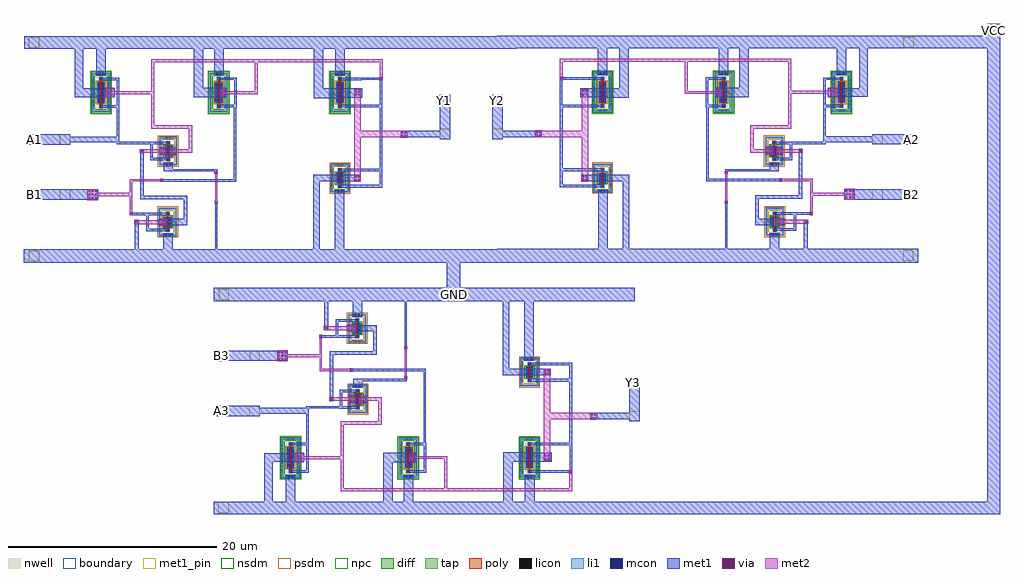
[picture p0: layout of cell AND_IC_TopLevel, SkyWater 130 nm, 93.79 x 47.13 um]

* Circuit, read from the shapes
.subckt AND_IC_TopLevel A1 A2 A3 B1 B2 B3 GND VCC Y1 Y2 Y3
XM1 n1 B1 GND GND sky130_fd_pr__nfet_01v8 w=1 l=0.15
XM2 n2 A1 n1 GND sky130_fd_pr__nfet_01v8 w=1 l=0.15
XM3 Y1 n2 GND GND sky130_fd_pr__nfet_01v8 w=1 l=0.15
XM4 n3 B3 GND GND sky130_fd_pr__nfet_01v8 w=1 l=0.15
XM5 n4 A3 n3 GND sky130_fd_pr__nfet_01v8 w=1 l=0.15
XM6 Y3 n4 GND GND sky130_fd_pr__nfet_01v8 w=1 l=0.15
XM7 GND n5 Y2 GND sky130_fd_pr__nfet_01v8 w=1 l=0.15
XM8 n6 A2 n5 GND sky130_fd_pr__nfet_01v8 w=1 l=0.15
XM9 GND B2 n6 GND sky130_fd_pr__nfet_01v8 w=1 l=0.15
XM10 n2 A1 VCC VCC sky130_fd_pr__pfet_01v8 w=2 l=0.15
XM11 n2 B1 VCC VCC sky130_fd_pr__pfet_01v8 w=2 l=0.15
XM12 n4 A3 VCC VCC sky130_fd_pr__pfet_01v8 w=2 l=0.15
XM13 Y1 n2 VCC VCC sky130_fd_pr__pfet_01v8 w=2 l=0.15
XM14 n4 B3 VCC VCC sky130_fd_pr__pfet_01v8 w=2 l=0.15
XM15 Y3 n4 VCC VCC sky130_fd_pr__pfet_01v8 w=2 l=0.15
XM16 VCC n5 Y2 VCC sky130_fd_pr__pfet_01v8 w=2 l=0.15
XM17 VCC B2 n5 VCC sky130_fd_pr__pfet_01v8 w=2 l=0.15
XM18 VCC A2 n5 VCC sky130_fd_pr__pfet_01v8 w=2 l=0.15
.ends

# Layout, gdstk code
from math import pi, radians
import gdstk
lib = gdstk.Library(unit=1e-6, precision=1e-09)
def R(c, l, rs):  # rectangles x0, y0, x1, y1
    for r in rs: c.add(gdstk.rectangle(r[:2], r[2:], *l))
def A(c, l, x, y, w, h, nx, ny, dx, dy):  # array of equal rectangles
    R(c, l, [(x+i*dx, y+j*dy, x+i*dx+w, y+j*dy+h) for i in range(nx) for j in range(ny)])
nwell = (64, 20)
diff = (65, 20)
tap = (65, 44)
poly = (66, 20)
licon = (66, 44)
li1 = (67, 20)
mcon = (67, 44)
met1_pin = (68, 16)
met1 = (68, 20)
via = (68, 44)
met2 = (69, 20)
nsdm = (93, 44)
psdm = (94, 20)
npc = (95, 20)
boundary = (235, 4)

sky130_fd_pr__nfet_01v8_ = lib.new_cell('sky130_fd_pr__nfet_01v8_648S5X')
R(sky130_fd_pr__nfet_01v8_, diff, [(-0.365,-0.5,0.365,0.5)])
R(sky130_fd_pr__nfet_01v8_, tap, [(-0.875,-1.37,0.875,-1.2), (-0.875,-1.2,-0.705,1.2), (0.705,-1.2,0.875,1.2), (-0.875,1.2,0.875,1.37)])
R(sky130_fd_pr__nfet_01v8_, poly, [(-0.165,-0.94,0.165,-0.61), (-0.075,-0.61,0.075,0.61), (-0.165,0.61,0.165,0.94)])
A(sky130_fd_pr__nfet_01v8_, licon, -0.875, -0.765, 0.17, 0.17, 1, 5, 0, 0.34)
A(sky130_fd_pr__nfet_01v8_, licon, 0.705, -0.765, 0.17, 0.17, 1, 5, 0, 0.34)
A(sky130_fd_pr__nfet_01v8_, licon, -0.305, -0.425, 0.17, 0.17, 1, 3, 0, 0.34)
A(sky130_fd_pr__nfet_01v8_, licon, 0.135, -0.425, 0.17, 0.17, 1, 3, 0, 0.34)
R(sky130_fd_pr__nfet_01v8_, licon, [(-0.255,-1.37,-0.085,-1.2), (0.085,-1.37,0.255,-1.2), (-0.085,-0.86,0.085,-0.69), (-0.085,0.69,0.085,0.86), (-0.255,1.2,-0.085,1.37), (0.085,1.2,0.255,1.37)])
R(sky130_fd_pr__nfet_01v8_, li1, [(-0.875,-1.37,0.875,-1.2), (-0.875,-1.2,-0.705,1.2), (0.705,-1.2,0.875,1.2), (-0.165,-0.86,0.165,-0.69), (-0.305,-0.52,-0.135,0.52), (0.135,-0.52,0.305,0.52), (-0.165,0.69,0.165,0.86), (-0.875,1.2,0.875,1.37)])
R(sky130_fd_pr__nfet_01v8_, mcon, [(-0.085,-0.86,0.085,-0.69), (-0.305,-0.265,-0.135,-0.095), (0.135,-0.265,0.305,-0.095), (-0.305,0.095,-0.135,0.265), (0.135,0.095,0.305,0.265), (-0.085,0.69,0.085,0.86)])
R(sky130_fd_pr__nfet_01v8_, met1, [(-0.145,-0.89,0.145,-0.66), (-0.335,-0.5,-0.105,0.5), (0.105,-0.5,0.335,0.5), (-0.145,0.66,0.145,0.89)])
R(sky130_fd_pr__nfet_01v8_, nsdm, [(-0.49,-0.625,0.49,0.625)])
R(sky130_fd_pr__nfet_01v8_, psdm, [(-1,-1.495,1,-1.075), (-1,-1.075,-0.58,1.075), (0.58,-1.075,1,1.075), (-1,1.075,1,1.495)])
R(sky130_fd_pr__nfet_01v8_, npc, [(-0.185,-0.96,0.185,-0.59), (-0.185,0.59,0.185,0.96)])
R(sky130_fd_pr__nfet_01v8_, boundary, [(-0.79,-1.285,0.79,1.285)])

sky130_fd_pr__pfet_01v8_ = lib.new_cell('sky130_fd_pr__pfet_01v8_XGAKDL')
R(sky130_fd_pr__pfet_01v8_, nwell, [(-1.055,-2.095,1.055,2.095)])
R(sky130_fd_pr__pfet_01v8_, diff, [(-0.365,-1,0.365,1)])
R(sky130_fd_pr__pfet_01v8_, tap, [(-0.875,-1.915,0.875,-1.745), (-0.875,-1.745,-0.705,1.745), (0.705,-1.745,0.875,1.745), (-0.875,1.745,0.875,1.915)])
R(sky130_fd_pr__pfet_01v8_, poly, [(-0.165,-1.485,0.165,-1.155), (-0.075,-1.155,0.075,1.155), (-0.165,1.155,0.165,1.485)])
A(sky130_fd_pr__pfet_01v8_, licon, -0.875, -1.275, 0.17, 0.17, 1, 8, 0, 0.34)
A(sky130_fd_pr__pfet_01v8_, licon, 0.705, -1.275, 0.17, 0.17, 1, 8, 0, 0.34)
A(sky130_fd_pr__pfet_01v8_, licon, -0.305, -0.935, 0.17, 0.17, 1, 6, 0, 0.34)
A(sky130_fd_pr__pfet_01v8_, licon, 0.135, -0.935, 0.17, 0.17, 1, 6, 0, 0.34)
R(sky130_fd_pr__pfet_01v8_, licon, [(-0.255,-1.915,-0.085,-1.745), (0.085,-1.915,0.255,-1.745), (-0.085,-1.405,0.085,-1.235), (-0.085,1.235,0.085,1.405), (-0.255,1.745,-0.085,1.915), (0.085,1.745,0.255,1.915)])
R(sky130_fd_pr__pfet_01v8_, li1, [(-0.875,-1.915,0.875,-1.745), (-0.875,-1.745,-0.705,1.745), (0.705,-1.745,0.875,1.745), (-0.165,-1.405,0.165,-1.235), (-0.305,-1.02,-0.135,1.02), (0.135,-1.02,0.305,1.02), (-0.165,1.235,0.165,1.405), (-0.875,1.745,0.875,1.915)])
A(sky130_fd_pr__pfet_01v8_, mcon, -0.305, -0.805, 0.17, 0.17, 1, 5, 0, 0.36)
A(sky130_fd_pr__pfet_01v8_, mcon, 0.135, -0.805, 0.17, 0.17, 1, 5, 0, 0.36)
R(sky130_fd_pr__pfet_01v8_, mcon, [(-0.085,-1.405,0.085,-1.235), (-0.085,1.235,0.085,1.405)])
R(sky130_fd_pr__pfet_01v8_, met1, [(-0.145,-1.435,0.145,-1.205), (-0.335,-1,-0.105,1), (0.105,-1,0.335,1), (-0.145,1.205,0.145,1.435)])
R(sky130_fd_pr__pfet_01v8_, nsdm, [(-1,-2.04,1,-1.62), (-1,-1.62,-0.58,1.62), (0.58,-1.62,1,1.62), (-1,1.62,1,2.04)])
R(sky130_fd_pr__pfet_01v8_, psdm, [(-0.49,-1.125,0.49,1.125)])
R(sky130_fd_pr__pfet_01v8_, npc, [(-0.185,-1.505,0.185,-1.135), (-0.185,1.135,0.185,1.505)])
R(sky130_fd_pr__pfet_01v8_, boundary, [(-0.79,-1.83,0.79,1.83)])

ic_7804_and = lib.new_cell('ic_7804_AND')
R(ic_7804_and, nwell, [(16.105,0.205,16.705,1.125), (26.99,2.345,27.91,2.4)])
R(ic_7804_and, li1, [(10.565,-13.145,11.18,-12.9), (27.125,-8.95,27.695,-8.68), (10.64,-6.35,11.23,-6.1), (4.14,2.41,4.795,2.635), (15.48,2.42,16.105,2.65), (27.13,2.42,27.755,2.65)])
R(ic_7804_and, mcon, [(10.605,-13.11,10.775,-12.94), (10.965,-13.11,11.135,-12.94), (27.145,-8.9,27.315,-8.73), (27.505,-8.9,27.675,-8.73), (10.67,-6.31,10.84,-6.14), (11.03,-6.31,11.2,-6.14), (4.2,2.435,4.37,2.605), (4.56,2.435,4.73,2.605), (15.525,2.45,15.695,2.62), (15.885,2.45,16.055,2.62), (27.175,2.45,27.345,2.62), (27.535,2.45,27.705,2.62)])
R(ic_7804_and, met1_pin, [(-2.455,-15.5,-1.455,-14.5), (0.52,-9.605,1.52,-8.605), (0.515,-4.315,1.515,-3.315), (37.005,-3.79,38.005,-2.79), (-2.475,4.995,-1.475,5.995)])
R(ic_7804_and, met1, [(-2.935,-15.66,37.545,-14.345), (7.705,-14.345,8.095,-11.535), (10.425,-14.345,11.355,-12.83), (15.435,-14.345,15.64,-10.005), (24.865,-14.345,25.48,-7.84), (26.915,-14.345,27.845,-8.645), (8.825,-12.63,11.03,-12.39), (8.825,-12.39,9.065,-11.075), (9.965,-12.065,10.8,-11.46), (10.99,-12.06,12.755,-11.455), (10.13,-11.46,10.8,-11.455), (12.415,-11.455,12.755,-9.555), (7.235,-11.12,7.495,-11.075), (7.235,-11.075,11.04,-10.84), (7.235,-10.84,7.495,-10.8), (8.835,-10.84,11.04,-10.835), (15.375,-10.005,15.695,-9.745), (0.52,-9.605,4.195,-8.605), (8.225,-9.555,12.755,-9.215), (8.225,-9.215,8.565,-7.11), (27.255,-8.44,31.515,-8.175), (31.25,-8.175,31.515,-6.88), (10.14,-7.865,10.46,-7.855), (10.14,-7.855,17.475,-7.62), (27.505,-7.845,29.45,-7.22), (24.865,-7.84,27.32,-7.225), (10.14,-7.62,10.46,-7.605), (17.24,-7.62,17.475,-0.73), (15.4,-7.145,15.66,-6.88), (8.225,-7.11,8.57,-6.77), (10.82,-6.885,11.03,-6.88), (10.49,-6.88,15.66,-6.825), (27.26,-6.88,31.515,-6.615), (10.49,-6.825,15.63,-6.675), (8.225,-6.77,8.565,-4.735), (10.49,-6.675,11.36,-6.05), (31.25,-6.615,31.515,-0.735), (9.175,-5.82,11.065,-5.58), (9.175,-5.58,9.415,-4.275), (11.035,-5.3,11.49,-5.295), (10.995,-5.295,11.765,-4.585), (10.07,-5.26,10.805,-4.61), (0.515,-4.315,1.515,-4.085), (5.97,-4.275,9.415,-4.27), (5.97,-4.27,11.075,-4.085), (0.515,-4.085,11.075,-4.04), (0.515,-4.04,6.22,-3.54), (9.175,-4.04,11.075,-4.03), (37.005,-3.79,38.005,-3.61), (33.265,-3.64,33.89,-3.61), (33.265,-3.61,38.005,-2.985), (0.515,-3.54,1.515,-3.315), (5.985,-3.54,6.22,-0.75), (33.265,-2.985,33.89,-2.955), (37.005,-2.985,38.005,-2.79), (4.325,-0.75,6.225,-0.515), (27.305,-0.735,31.515,-0.495), (15.625,-0.73,17.505,-0.495), (5.985,-0.515,6.225,-0.51), (5.99,-0.51,6.225,1.885), (17.24,-0.495,17.505,-0.49), (31.275,-0.495,31.515,1.86), (17.27,-0.49,17.505,1.905), (24.905,0.165,27.35,1.09), (27.54,0.215,29.55,1.1), (13.365,0.225,15.69,1.145), (15.875,0.225,16.475,0.38), (1.92,0.255,4.38,1.105), (4.57,0.255,5.765,1.105), (15.845,0.38,16.505,0.98), (15.875,0.98,16.475,1.145), (24.905,1.09,25.83,4.91), (1.92,1.105,2.77,4.91), (13.365,1.145,14.285,4.91), (31.235,1.86,31.52,1.91), (4.325,1.885,6.225,2.12), (27.31,1.895,29.545,1.91), (15.64,1.905,17.505,2.14), (27.31,1.91,31.52,2.135), (31.235,2.135,31.52,2.21), (26.99,2.345,27.91,4.91), (4.02,2.365,4.91,4.91), (15.335,2.39,16.25,4.91), (-2.92,4.91,37.525,6.125)])
A(ic_7804_and, via, 3.27, -9.5, 0.15, 0.15, 3, 3, 0.32, 0.32)
R(ic_7804_and, via, [(10.23,-11.995,10.38,-11.845), (10.55,-11.995,10.7,-11.845), (7.825,-11.835,7.975,-11.685), (10.23,-11.675,10.38,-11.525), (10.55,-11.675,10.7,-11.525), (7.29,-11.035,7.44,-10.885), (15.46,-9.95,15.61,-9.8), (10.225,-7.81,10.375,-7.66), (28.87,-7.77,29.02,-7.62), (29.19,-7.77,29.34,-7.62), (28.87,-7.45,29.02,-7.3), (29.19,-7.45,29.34,-7.3), (15.455,-7.06,15.605,-6.91), (11.145,-5.175,11.295,-5.025), (11.465,-5.175,11.615,-5.025), (10.19,-5.17,10.34,-5.02), (10.51,-5.17,10.66,-5.02), (8.32,-5.01,8.47,-4.86), (11.145,-4.855,11.295,-4.705), (11.465,-4.855,11.615,-4.705), (10.19,-4.85,10.34,-4.7), (10.51,-4.85,10.66,-4.7), (33.34,-3.535,33.49,-3.385), (33.66,-3.535,33.81,-3.385), (33.34,-3.215,33.49,-3.065), (33.66,-3.215,33.81,-3.065), (28.87,0.42,29.02,0.57), (29.19,0.42,29.34,0.57), (5.075,0.445,5.225,0.595), (5.395,0.445,5.545,0.595), (15.94,0.445,16.09,0.595), (16.26,0.445,16.41,0.595), (28.87,0.74,29.02,0.89), (29.19,0.74,29.34,0.89), (5.075,0.765,5.225,0.915), (5.395,0.765,5.545,0.915), (15.94,0.765,16.09,0.915), (16.26,0.765,16.41,0.915), (31.3,1.96,31.45,2.11)])
R(ic_7804_and, met2, [(10.16,-12.095,10.77,-11.955), (7.675,-11.955,10.77,-11.565), (10.16,-11.565,10.77,-11.425), (7.205,-11.09,7.525,-10.83), (7.245,-10.83,7.48,-9.265), (15.405,-10.035,15.665,-9.715), (15.43,-9.715,15.635,-7.115), (3.165,-9.635,4.165,-9.265), (3.165,-9.265,7.48,-8.94), (3.165,-8.94,4.165,-8.575), (7.245,-8.94,7.48,-7.85), (10.17,-7.895,10.43,-7.85), (28.795,-7.875,29.42,-3.61), (7.245,-7.85,10.43,-7.615), (10.17,-7.615,10.43,-7.575), (15.37,-7.115,15.69,-6.855), (11.025,-5.325,11.735,-5.105), (10.1,-5.29,10.75,-5.105), (8.195,-5.105,10.75,-4.765), (11.025,-5.105,13.235,-4.77), (11.025,-4.77,11.735,-4.555), (12.9,-4.77,13.235,-2.79), (10.1,-4.765,10.75,-4.58), (28.795,-3.61,33.92,-2.985), (28.795,-2.985,29.42,1), (9.3,-2.79,13.235,-2.455), (9.3,-2.455,9.57,0.54), (4.885,0.225,5.735,0.54), (15.875,0.35,16.475,0.55), (4.885,0.54,9.57,0.825), (15.875,0.55,19.54,0.81), (15.875,0.81,16.475,1.01), (19.25,0.81,19.54,3.615), (4.885,0.825,5.735,1.135), (9.28,0.825,9.565,3.62), (31.205,1.89,31.55,2.18), (31.235,2.18,31.525,3.615), (18.165,3.615,31.525,3.62), (9.28,3.62,31.525,3.905)])
ic_7804_and.add(gdstk.Reference(sky130_fd_pr__nfet_01v8_, (10.935,-4.94)))
ic_7804_and.add(gdstk.Reference(sky130_fd_pr__pfet_01v8_, (4.465,0.695)))
ic_7804_and.add(gdstk.Reference(sky130_fd_pr__pfet_01v8_, (15.785,0.705)))
ic_7804_and.add(gdstk.Reference(sky130_fd_pr__nfet_01v8_, (10.875,-11.74)))
ic_7804_and.add(gdstk.Reference(sky130_fd_pr__pfet_01v8_, (27.425,0.705)))
ic_7804_and.add(gdstk.Reference(sky130_fd_pr__nfet_01v8_, (27.425,-7.53)))
ic_7804_and.add(gdstk.Label('VCC', (-1.975,5.495), layer=68, texttype=5))
ic_7804_and.add(gdstk.Label('Y', (37.505,-3.29), layer=68, texttype=5))
ic_7804_and.add(gdstk.Label('B', (1.02,-9.105), layer=68, texttype=5))
ic_7804_and.add(gdstk.Label('GND', (-1.955,-15), layer=68, texttype=5))
ic_7804_and.add(gdstk.Label('A', (1.015,-3.815), layer=68, texttype=5))

and_ic_toplevel = lib.new_cell('AND_IC_TopLevel')
R(and_ic_toplevel, met1_pin, [(18.5,-34.73,19.5,-33.73), (58.16,-32.03,59.08,-31.03), (18.5,-29.45,19.5,-28.45), (40.85,-23.51,41.85,-22.51), (0.51,-13.95,1.51,-12.95), (84.78,-13.95,85.78,-12.95), (0.52,-8.66,1.52,-7.66), (84.78,-8.64,85.78,-7.64), (39.94,-4.87,40.94,-3.87), (45.02,-4.87,46.02,-3.87), (92.68,1.83,93.68,2.83)])
R(and_ic_toplevel, met1, [(56.345,-44.17,93.795,-42.955), (92.58,-42.955,93.795,0.59), (58.16,-35.255,59.16,-31.44), (18.5,-34.73,22.67,-33.73), (58.16,-31.44,59.08,-31.03), (18.5,-29.45,19.5,-29.44), (18.5,-29.44,22.9,-28.45), (18.96,-28.45,22.9,-28.44), (41.09,-23.695,41.935,-23.63), (41.73,-23.63,41.935,-23.51), (40.85,-23.51,41.935,-23.46), (40.85,-23.46,41.85,-22.51), (41.9,-23.46,41.935,-22.4), (40.62,-22.51,40.79,-22.46), (40.62,-22.46,40.85,-22.4), (40.62,-22.4,41.935,-20), (39.085,-20,47.365,-18.685), (0.51,-13.95,1.51,-13.945), (84.78,-13.95,85.78,-13.925), (0.51,-13.945,4.53,-12.95), (81.505,-13.925,85.78,-12.95), (1.51,-12.95,4.53,-12.945), (81.505,-12.95,85.12,-12.925), (0.52,-8.66,1.52,-8.655), (0.52,-8.655,4.45,-7.66), (84.78,-8.64,85.78,-8.635), (81.51,-8.635,85.78,-7.64), (39.94,-8.13,40.94,-3.87), (45.02,-8.11,46.02,-3.87), (1.11,-7.66,4.45,-7.655), (81.51,-7.64,85.18,-7.635), (38.385,0.57,47.315,1.785), (84.61,0.59,93.795,1.805), (92.58,1.805,93.795,2.965)])
and_ic_toplevel.add(gdstk.Reference(ic_7804_and, (2.935,-4.34)))
and_ic_toplevel.add(gdstk.Reference(ic_7804_and, (83.025,-4.32), rotation=pi, x_reflection=True))
and_ic_toplevel.add(gdstk.Reference(ic_7804_and, (21.155,-38.045), x_reflection=True))
and_ic_toplevel.add(gdstk.Label('Y3', (58.62,-31.53), layer=68, texttype=5))
and_ic_toplevel.add(gdstk.Label('B3', (19,-28.95), layer=68, texttype=5))
and_ic_toplevel.add(gdstk.Label('A3', (19,-34.23), layer=68, texttype=5))
and_ic_toplevel.add(gdstk.Label('GND', (41.35,-23.01), layer=68, texttype=5))
and_ic_toplevel.add(gdstk.Label('Y2', (45.52,-4.37), layer=68, texttype=5))
and_ic_toplevel.add(gdstk.Label('B2', (85.28,-13.45), layer=68, texttype=5))
and_ic_toplevel.add(gdstk.Label('A2', (85.28,-8.14), layer=68, texttype=5))
and_ic_toplevel.add(gdstk.Label('Y1', (40.44,-4.37), layer=68, texttype=5))
and_ic_toplevel.add(gdstk.Label('B1', (1.01,-13.45), layer=68, texttype=5))
and_ic_toplevel.add(gdstk.Label('VCC', (93.18,2.33), layer=68, texttype=5))
and_ic_toplevel.add(gdstk.Label('A1', (1.02,-8.16), layer=68, texttype=5))

lib.write_gds('AND_IC_TopLevel.gds')
